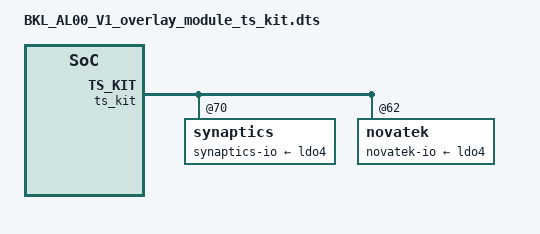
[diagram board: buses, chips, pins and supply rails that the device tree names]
/*touch_panel*/
	&ts_kit {
		bus_type = "i2c";
		bus_id = <7>;
		product = "BERK";
		irq_gpio = <&gpio26 4 0>;
		aft_enable = <1>;
		fp_tp_enable = <1>;
		register_charger_notifier = <0>;
		synaptics: touchscreen@70 {
			compatible = "synaptics";
			algo_id = <1>;
			support_aft = <1>;
			raw_data_limit = "9999", /*rawdata-max*/
				"1", /*rawdata-min*/
				"998", /*deltadata-max*/
				"-998", /*deltadata-min*/
				"9999", /*rx-to-rx-diff-max*/
				"-9999", /*rx-to-rx-diff-min*/
				"9999", /*tx-to-tx-diff-max*/
				"-9999";/*tx-to-tx-diff-min*/
			need_wd_check_status = <0>;
			x_max = <1080>;
			y_max = <2160>;
			x_max_mt = <1080>;
			y_max_mt = <2160>;
			irq_config = <0>;
			ic_type = <2>;
			delay_for_fw_update = <1>;
			vci_gpio_type = <0>;
			vci_regulator_type = <1>;
			vddio_gpio_type = <0>;
			vddio_regulator_type = <1>;
			slave_address = <0x70>;
			unite_cap_test_interface =<1>;
			pinctrl-1 = <&gpio212_cfg_idle>;
			pinctrl-0 = <&gpio212_cfg_func>;
			pinctrl-names = "default", "idle";
			/*synaptics-vdd-supply = <&ldo17>;*/
			synaptics-io-supply = <&ldo4>;
			byte_to_byte_cmp_config_id = <1>;
			BERK28140{
				producer = "ctc";
				compatible = "synaptics-BERK28140";
				holster_switch_bit = <1>;
				holster_switch_addr = <0>;
				glove_switch_bit = <5>;
				glove_switch_addr = <0x001b>;
				roi_supported = <1>;
				roi_data_addr = <0x0400>;
				roi_control_bit = <0>;
				roi_control_addr = <0x0408>;
				charger_supported = <0>;
				charger_switch_bit = <5>;
				charger_switch_addr = <0x000d>;
				touch_switch_flag = <1>;
				touch_switch_reg = <0x000d>;
				touch_switch_hold_off_reg = <0x0011>;
				aft_data_addr = <0x401>;
				raw_data_limit = "5000", "0", "30", "-30", "5000", "-5000", "5000", "-5000";
				ic_type = <5>;
				report_rate_test = <0>;
				huawei,csvfile_use_product_system = <2>;
				huawei,threshold_tddi_ee_short_partone = <500>;
				huawei,threshold_tddi_ee_short_parttwo = <60>;
				huawei,test_capacitance_via_csvfile = <1>;
				huawei,trx_delta_test_support = <1>;
				huawei,td43xx_ee_short_test = <1>;
			};
			BERK28130{
				producer = "boe";
				compatible = "synaptics-BERK28130";
				holster_switch_bit = <1>;
				holster_switch_addr = <0>;
				glove_switch_bit = <5>;
				glove_switch_addr = <0x0019>;
				roi_supported = <1>;
				roi_data_addr = <0x0400>;
				roi_control_bit = <0>;
				roi_control_addr = <0x0409>;
				charger_supported = <0>;
				charger_switch_bit = <5>;
				charger_switch_addr = <0x000c>;
				touch_switch_flag = <3>;
				touch_switch_reg = <0x000c>;
				touch_game_reg = <0x0431>;
				game_control_bit = <0>;
				touch_switch_hold_off_reg = <0x0010>;
				aft_data_addr = <0x401>;
				raw_data_limit = "5000", "0", "40", "-40", "5000", "-5000", "5000", "-5000";
				ic_type = <5>;
				report_rate_test = <0>;
				huawei,csvfile_use_product_system = <2>;
				huawei,threshold_tddi_ee_short_partone = <150>;
				huawei,threshold_tddi_ee_short_parttwo = <70>;
				huawei,test_capacitance_via_csvfile = <1>;
				huawei,trx_delta_test_support = <1>;
				huawei,td43xx_ee_short_test = <1>;
			};
		};
		novatek: touchscreen@62 {
			compatible = "novatek";
			ic_type = <2>;
			roi_supported = <1>;
			support_aft = <1>;
			need_wd_check_status = <0>;
			x_max = <1080>;
			y_max = <2160>;
			x_max_mt = <1080>;
			y_max_mt = <2160>;
			unite_cap_test_interface = <1>;
			tp_test_type = "Normalize_type:judge_last_result";
			vci_gpio_type = <0>;
			vci_regulator_type = <1>;
			vddio_gpio_type = <0>;
			vddio_regulator_type = <1>;
			slave_address = <0x62>;
			pinctrl-1 = <&gpio212_cfg_idle>;
			pinctrl-0 = <&gpio212_cfg_func>;
			pinctrl-names = "default", "idle";
			/*novatek-vdd-supply = <&ldo17>;*/
			novatek-io-supply = <&ldo4>;
			irq_config = <3>;
			algo_id = <1>;
			noise_test_frame = <30>;
			open_test_by_fw = <1>;
			i2c_retry_time = <50>;
			roi_delay_flag = <1>;
			BERK40110 {
				producer = "tianma";
				compatible = "BERK40110";
				roi_supported = <1>;
				criteria_threshold_flag = <1>;
				NvtTddi_X_Channel = <18>;
				NvtTddi_Y_Channel = <32>;
				touch_switch_flag = <3>;
				huawei,csvfile_use_system = <2>;
				huawei,test_capacitance_via_csvfile = <1>;
				NVT_TDDI_AIN_X = <17 16 15 14 13 12 11 10 9 8 7 6 5 4 3 2 1 0>;
				NVT_TDDI_AIN_Y = <31 30 29 28 27 26 25 24 23 22 21 20 19 18 17 16 15 14 13 12 11 10 9 8 7 6 5 4 3 2 1 0>;
				mADCOper_Cnt = <2>;
			};
			BERK40020 {
				producer = "truly";
				compatible = "BERK40020";
				roi_supported = <1>;
				criteria_threshold_flag = <1>;
				NvtTddi_X_Channel = <18>;
				NvtTddi_Y_Channel = <32>;
				touch_switch_flag = <1>;
				huawei,csvfile_use_system = <2>;
				huawei,test_capacitance_via_csvfile = <1>;
				NVT_TDDI_AIN_X = <17 16 15 14 13 12 11 10 9 8 7 6 5 4 3 2 1 0>;
				NVT_TDDI_AIN_Y = <31 30 29 28 27 26 25 24 23 22 21 20 19 18 17 16 15 14 13 12 11 10 9 8 7 6 5 4 3 2 1 0>;
				mADCOper_Cnt = <2>;
			};
		};

	};
